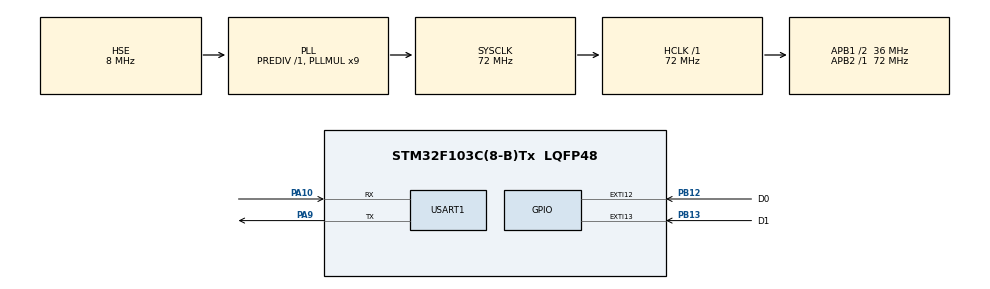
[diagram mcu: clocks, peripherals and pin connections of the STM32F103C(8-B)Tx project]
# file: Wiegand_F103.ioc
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Mcu.Family=STM32F1
Mcu.Name=STM32F103C(8-B)Tx
Mcu.Package=LQFP48
NVIC.EXTI15_10_IRQn=true\:3\:0\:true\:false\:true\:true\:true
NVIC.PriorityGroup=NVIC_PRIORITYGROUP_4
PA10.Mode=Asynchronous
PA10.Signal=USART1_RX
PA13.Mode=Serial_Wire
PA13.Signal=SYS_JTMS-SWDIO
PA14.Mode=Serial_Wire
PA14.Signal=SYS_JTCK-SWCLK
PA9.Mode=Asynchronous
PA9.Signal=USART1_TX
PB12.GPIO_Label=D0
PB12.GPIO_ModeDefaultEXTI=GPIO_MODE_IT_FALLING
PB12.Signal=GPXTI12
PB13.GPIO_Label=D1
PB13.GPIO_ModeDefaultEXTI=GPIO_MODE_IT_FALLING
PB13.Signal=GPXTI13
PD0-OSC_IN.Mode=HSE-External-Oscillator
PD0-OSC_IN.Signal=RCC_OSC_IN
PD1-OSC_OUT.Mode=HSE-External-Oscillator
PD1-OSC_OUT.Signal=RCC_OSC_OUT
ProjectManager.HeapSize=0x200
ProjectManager.StackSize=0x400
ProjectManager.TargetToolchain=TrueSTUDIO
RCC.AHBFreq_Value=72000000
RCC.APB1CLKDivider=RCC_HCLK_DIV2
RCC.APB1Freq_Value=36000000
RCC.APB1TimFreq_Value=72000000
RCC.APB2Freq_Value=72000000
RCC.APB2TimFreq_Value=72000000
RCC.HCLKFreq_Value=72000000
RCC.PLLMUL=RCC_PLL_MUL9
RCC.PLLSourceVirtual=RCC_PLLSOURCE_HSE
RCC.SYSCLKFreq_VALUE=72000000
RCC.SYSCLKSource=RCC_SYSCLKSOURCE_PLLCLK
RCC.USBFreq_Value=72000000
USART1.VirtualMode=VM_ASYNC
board=custom

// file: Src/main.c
/* USER CODE BEGIN Header */
/**
  ******************************************************************************
  * @file           : main.c
  * @brief          : Main program body
  ******************************************************************************
  * @attention
  *
  * <h2><center>&copy; Copyright (c) 2020 STMicroelectronics.
  * All rights reserved.</center></h2>
  *
  * This software component is licensed by ST under BSD 3-Clause license,
  * the "License"; You may not use this file except in compliance with the
  * License. You may obtain a copy of the License at:
  *                        opensource.org/licenses/BSD-3-Clause
  *
  ******************************************************************************
  */
/* USER CODE END Header */

#include "main.h"

/* USER CODE BEGIN Includes */
#include "string.h"
#include "stdio.h"
#include "wiegand.h"

/* USER CODE END Includes */

/* USER CODE BEGIN PD */
#define D0        D0_Pin
#define D1        D1_Pin
/* USER CODE END PD */

UART_HandleTypeDef huart1;

/* USER CODE BEGIN PV */
volatile uint8_t wig_flag_inrt = 1;
/* USER CODE END PV */

void SystemClock_Config(void);
static void MX_GPIO_Init(void);
static void MX_USART1_UART_Init(void);

/* USER CODE BEGIN 0 */
void HAL_GPIO_EXTI_Callback(uint16_t GPIO_Pin)
{
	if(wig_flag_inrt && GPIO_Pin == D0)
	{
		ReadD0();
	}
	else if(wig_flag_inrt && GPIO_Pin == D1)
	{
		ReadD1();
	}
}
/* USER CODE END 0 */

int main(void)
{

  /* MCU Configuration--------------------------------------------------------*/

  /* Reset of all peripherals, Initializes the Flash interface and the Systick. */
  HAL_Init();

  /* Configure the system clock */
  SystemClock_Config();

  /* Initialize all configured peripherals */
  MX_GPIO_Init();
  MX_USART1_UART_Init();
  /* USER CODE BEGIN 2 */

  /////// раскомментить для складывания цифр в массив ///////
  /*uint8_t wig_dig[12] = {0,};
  memset(wig_dig, '\0', 12);
  uint8_t wdig = 0;
  uint32_t wcode = 0;
  int16_t wtype = 0;*/

  /* USER CODE END 2 */

  /* Infinite loop */
  /* USER CODE BEGIN WHILE */
  while (1)
  {
		if(wig_available())
		{
			wig_flag_inrt = 0;
			uint32_t wcode = getCode();
			int16_t wtype = getWiegandType();
			wig_flag_inrt = 1;

			char str[64] = {0,};
			snprintf(str, 64, "HEX=0x%lX DEC=%lu, Protokol Wiegand-%d\n", wcode, wcode, wtype);
			HAL_UART_Transmit(&huart1, (uint8_t*)str, strlen(str), 1000);
		}

	  	/*if(wig_available())
	  	{
	  		wig_flag_inrt = 0;
	  		wcode = getCode();
	  		wtype = getWiegandType();
	  		wig_flag_inrt = 1;

	  		char str[64] = {0,};
	  		snprintf(str, 64, "HEX=0x%lX DEC=%lu, Protokol Wiegand-%d\n", wcode, wcode, wtype);
	  		HAL_UART_Transmit(&huart1, (uint8_t*)str, strlen((char*)str), 1000);

	  		if(wtype == 4 || wtype == 8)
	  		{
	  			if(wcode == 0x1B) // * сброс кнопок
	  			{
	  				HAL_UART_Transmit(&huart1, (uint8_t*)"Reset\n", strlen("Reset\n"), 1000);

	  				wdig = 0;
	  				memset(wig_dig, '\0', 12);
	  			}
	  			else if(wcode == 0x0D) // # Enter
	  			{
	  				HAL_UART_Transmit(&huart1, (uint8_t*)"Enter\n", strlen("Enter\n"), 1000);

	  				snprintf(str, 64, "Digits %s\n", wig_dig);
	  				HAL_UART_Transmit(&huart1, (uint8_t*)str, strlen((char*)str), 1000);

	  				wdig = 0;
	  				memset(wig_dig, '\0', 12);
	  			}
	  			else
	  			{
	  				HAL_UART_Transmit(&huart1, (uint8_t*)"Reciv dig\n", strlen("Reciv dig\n"), 1000);

	  				sprintf((char*)&wig_dig[wdig++], "%d", (uint8_t)wcode);

	  				if(wdig > 11)
	  				{
	  					HAL_UART_Transmit(&huart1, (uint8_t*)"Buff overflow\n", strlen("Buff overflow\n"), 1000);

	  					wdig = 0;
	  					memset(wig_dig, '\0', 12);
	  				}
	  			}
	  		}
	  		else if(wtype > 8)
	  		{
	  			HAL_UART_Transmit(&huart1, (uint8_t*)"Cart\n", strlen("Cart\n"), 1000);

	  			snprintf(str, 64, "ID cart HEX=0x%lX DEC=%lu\n", wcode, wcode);
	  			HAL_UART_Transmit(&huart1, (uint8_t*)str, strlen((char*)str), 1000);

	  			wdig = 0;
	  			memset(wig_dig, '\0', 12);
	  		}
	  	}*/

    /* USER CODE END WHILE */

  }
}

void SystemClock_Config(void)
{
  RCC_OscInitTypeDef RCC_OscInitStruct = {0};
  RCC_ClkInitTypeDef RCC_ClkInitStruct = {0};

  /** Initializes the CPU, AHB and APB busses clocks
  */
  RCC_OscInitStruct.OscillatorType = RCC_OSCILLATORTYPE_HSE;
  RCC_OscInitStruct.HSEState = RCC_HSE_ON;
  RCC_OscInitStruct.HSEPredivValue = RCC_HSE_PREDIV_DIV1;
  RCC_OscInitStruct.HSIState = RCC_HSI_ON;
  RCC_OscInitStruct.PLL.PLLState = RCC_PLL_ON;
  RCC_OscInitStruct.PLL.PLLSource = RCC_PLLSOURCE_HSE;
  RCC_OscInitStruct.PLL.PLLMUL = RCC_PLL_MUL9;
  if (HAL_RCC_OscConfig(&RCC_OscInitStruct) != HAL_OK)
  {
    Error_Handler();
  }
  /** Initializes the CPU, AHB and APB busses clocks
  */
  RCC_ClkInitStruct.ClockType = RCC_CLOCKTYPE_HCLK|RCC_CLOCKTYPE_SYSCLK
                              |RCC_CLOCKTYPE_PCLK1|RCC_CLOCKTYPE_PCLK2;
  RCC_ClkInitStruct.SYSCLKSource = RCC_SYSCLKSOURCE_PLLCLK;
  RCC_ClkInitStruct.AHBCLKDivider = RCC_SYSCLK_DIV1;
  RCC_ClkInitStruct.APB1CLKDivider = RCC_HCLK_DIV2;
  RCC_ClkInitStruct.APB2CLKDivider = RCC_HCLK_DIV1;

  if (HAL_RCC_ClockConfig(&RCC_ClkInitStruct, FLASH_LATENCY_2) != HAL_OK)
  {
    Error_Handler();
  }
}

static void MX_USART1_UART_Init(void)
{

  huart1.Instance = USART1;
  huart1.Init.BaudRate = 115200;
  huart1.Init.WordLength = UART_WORDLENGTH_8B;
  huart1.Init.StopBits = UART_STOPBITS_1;
  huart1.Init.Parity = UART_PARITY_NONE;
  huart1.Init.Mode = UART_MODE_TX_RX;
  huart1.Init.HwFlowCtl = UART_HWCONTROL_NONE;
  huart1.Init.OverSampling = UART_OVERSAMPLING_16;
  if (HAL_UART_Init(&huart1) != HAL_OK)
  {
    Error_Handler();
  }

}

static void MX_GPIO_Init(void)
{
  GPIO_InitTypeDef GPIO_InitStruct = {0};

  /* GPIO Ports Clock Enable */
  __HAL_RCC_GPIOD_CLK_ENABLE();
  __HAL_RCC_GPIOB_CLK_ENABLE();
  __HAL_RCC_GPIOA_CLK_ENABLE();

  /*Configure GPIO pins : D0_Pin D1_Pin */
  GPIO_InitStruct.Pin = D0_Pin|D1_Pin;
  GPIO_InitStruct.Mode = GPIO_MODE_IT_FALLING;
  GPIO_InitStruct.Pull = GPIO_NOPULL;
  HAL_GPIO_Init(GPIOB, &GPIO_InitStruct);

  /* EXTI interrupt init*/
  HAL_NVIC_SetPriority(EXTI15_10_IRQn, 3, 0);
  HAL_NVIC_EnableIRQ(EXTI15_10_IRQn);

}

void Error_Handler(void)
{
}

/************************ (C) COPYRIGHT STMicroelectronics *****END OF FILE****/
